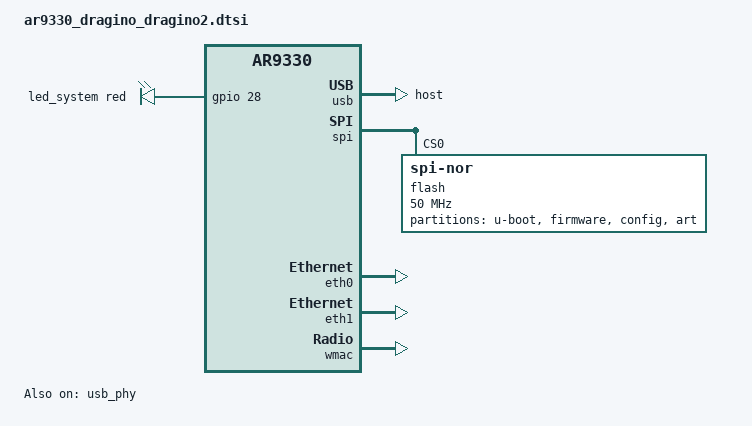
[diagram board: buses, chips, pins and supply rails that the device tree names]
// SPDX-License-Identifier: GPL-2.0-or-later OR MIT

#include "ar9330.dtsi"

#include <dt-bindings/gpio/gpio.h>
#include <dt-bindings/input/input.h>
#include <dt-bindings/leds/common.h>

/ {
	pinctrl-names = "default";
	pinctrl-0 = <&jtag_disable_pins>;

	aliases {
		led-boot = &led_system;
		led-failsafe = &led_system;
		led-running = &led_system;
		led-upgrade = &led_system;
		label-mac-device = &wmac;
	};

	gpio_leds: leds {
		compatible = "gpio-leds";
		pinctrl-names = "default";
		pinctrl-0 = <&switch_led_disable_pins>;

		led_system: system {
			function = LED_FUNCTION_STATUS;
			color = <LED_COLOR_ID_RED>;
			gpios = <&gpio 28 GPIO_ACTIVE_HIGH>;
			default-state = "on";
			panic-indicator;
		};
	};

	gpio_keys: keys {
		compatible = "gpio-keys";
	};
};

&usb {
	status = "okay";

	dr_mode = "host";
};

&usb_phy {
	status = "okay";
};

&spi {
	status = "okay";

	flash@0 {
		compatible = "jedec,spi-nor";
		spi-max-frequency = <50000000>;
		reg = <0>;

		partitions {
			compatible = "fixed-partitions";
			#address-cells = <1>;
			#size-cells = <1>;

			partition@0 {
				label = "u-boot";
				reg = <0x000000 0x040000>;
				read-only;
			};

			partition@40000 {
				compatible = "denx,uimage";
				label = "firmware";
				reg = <0x040000 0xfa0000>;
			};

			partition@fe0000 {
				label = "config";
				reg = <0xfe0000 0x10000>;
				read-only;
			};
			partition@ff0000 {
				label = "art";
				reg = <0xff0000 0x010000>;
				read-only;

				nvmem-layout {
					compatible = "fixed-layout";
					#address-cells = <1>;
					#size-cells = <1>;

					macaddr_art_0: macaddr@0 {
						reg = <0x0 0x6>;
					};

					macaddr_art_6: macaddr@6 {
						reg = <0x6 0x6>;
					};

					macaddr_art_1002: macaddr@1002 {
						reg = <0x1002 0x6>;
					};

					cal_art_1000: calibration@1000 {
						reg = <0x1000 0x440>;
					};
				};
			};
		};
	};
};

&eth0 {
	status = "okay";

	nvmem-cells = <&macaddr_art_0>;
	nvmem-cell-names = "mac-address";
};

&eth1 {
	status = "okay";

	nvmem-cells = <&macaddr_art_6>;
	nvmem-cell-names = "mac-address";

	gmac-config {
		device = <&gmac>;

		switch-phy-addr-swap = <0>;
		switch-phy-swap = <0>;
	};
};

&wmac {
	status = "okay";

	nvmem-cells = <&macaddr_art_1002>, <&cal_art_1000>;
	nvmem-cell-names = "mac-address", "calibration";
};
